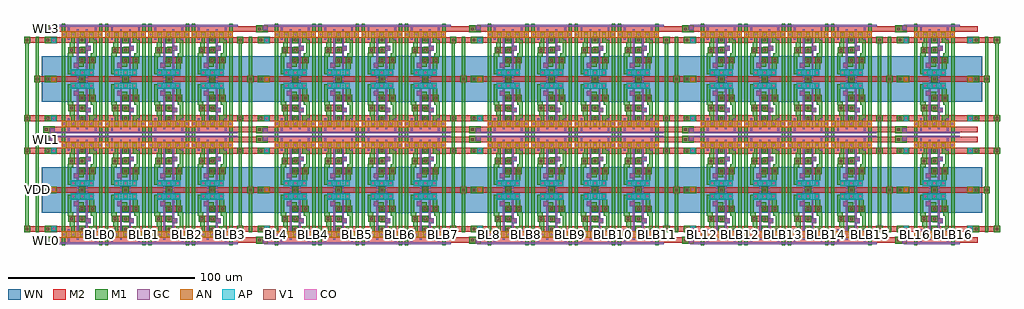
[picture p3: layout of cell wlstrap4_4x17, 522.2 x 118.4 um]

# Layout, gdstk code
import gdstk
lib = gdstk.Library(unit=1e-6, precision=1e-07)
def R(c, l, rs):  # rectangles x0, y0, x1, y1
    for r in rs: c.add(gdstk.rectangle(r[:2], r[2:], *l))
def A(c, l, x, y, w, h, nx, ny, dx, dy):  # array of equal rectangles
    R(c, l, [(x+i*dx, y+j*dy, x+i*dx+w, y+j*dy+h) for i in range(nx) for j in range(ny)])
def P(c, l, *ps):  # polygons
    for p in ps: c.add(gdstk.Polygon(p, *l))
AP = (3, 1)
AN = (3, 2)
GC = (8, 1)
CO = (11, 0)
M1 = (13, 0)
V1 = (19, 0)
M2 = (20, 0)
WN = (140, 0)

euler = lib.new_cell('euler')
R(euler, AP, [(3.5,18.7,15.7,22.1)])
R(euler, AN, [(-1.3,-1.7,20.5,1.7)])
R(euler, GC, [(0,-5.1,23.2,-4.1), (1.9,-5.1,2.9,2.9), (16.3,-5.1,17.3,2.9), (6.7,-2.9,7.7,23.3), (11.5,-2.9,12.5,23.3), (11.5,6.1,14.1,8.7), (11.5,6.9,13.3,7.9), (5.1,15.1,7.7,17.7), (5.9,15.9,7.7,16.9)])
A(euler, CO, -0.5, -0.5, 1, 1, 5, 1, 4.8, 0)
A(euler, CO, 4.3, 19.9, 1, 1, 3, 1, 4.8, 0)
R(euler, CO, [(12.3,6.9,13.3,7.9), (5.9,15.9,6.9,16.9)])
P(euler, M1, [(8.3,-1.3),(8.3,1.3),(7.9,1.3),(7.9,4.7),(11.3,4.7),(11.3,1.3),(10.9,1.3),(10.9,-1.3)],
  [(11.5,6.1),(11.5,6.5),(8.7,6.5),(8.7,6.7),(7.9,6.7),(7.9,10.1),(11.3,10.1),(11.3,8.7),(14.1,8.7),(14.1,6.1)],
  [(7.9,12.1),(7.9,15.1),(5.1,15.1),(5.1,17.7),(7.7,17.7),(7.7,17.3),(10.5,17.3),(10.5,15.5),(11.3,15.5),(11.3,12.1)],
  [(3.5,-1.3),(3.5,1.3),(3.9,1.3),(3.9,4.1),(3.1,4.1),(3.1,6.7),(2.3,6.7),(2.3,10.1),(1.9,10.1),(1.9,21.3),(3.5,21.3),(3.5,21.7),(6.1,21.7),(6.1,19.1),(3.7,19.1),(3.7,11.9),(4.9,11.9),(4.9,10.1),(5.7,10.1),(5.7,1.3),(6.1,1.3),(6.1,-1.3)],
  [(13.1,-1.3),(13.1,1.3),(13.5,1.3),(13.5,4.5),(15.5,4.5),(15.5,10.1),(14.3,10.1),(14.3,12.1),(13.5,12.1),(13.5,19.1),(13.1,19.1),(13.1,21.7),(15.7,21.7),(15.7,18.7),(16.1,18.7),(16.1,15.5),(16.9,15.5),(16.9,11.9),(17.3,11.9),(17.3,2.7),(15.7,2.7),(15.7,-1.3)],
  [(-1.3,-5.7),(-1.3,23.9),(0.5,23.9),(0.5,1.3),(1.3,1.3),(1.3,-1.3),(0.5,-1.3),(0.5,-5.7)],
  [(18.7,-5.7),(18.7,-1.3),(17.9,-1.3),(17.9,1.3),(18.7,1.3),(18.7,23.9),(20.5,23.9),(20.5,-5.7)],
  [(8.3,19.1),(8.3,22.2),(7.9,22.2),(7.9,25.6),(11.3,25.6),(11.3,22.2),(10.9,22.2),(10.9,19.1)])
A(euler, V1, 8.9, 2.3, 1.4, 1.4, 1, 3, 0, 5.4)
R(euler, V1, [(3.3,7.7,4.7,9.1), (14.5,13.1,15.9,14.5), (8.9,23.2,10.3,24.6)])
A(euler, M2, 7.9, 1.3, 3.4, 3.4, 1, 3, 0, 5.4)
R(euler, M2, [(0,-4.5,23.2,-1.5), (0,1.5,23.2,4.5), (2.3,6.7,5.7,10.1), (2.3,6.7,11.3,10.1), (7.9,12.1,16.9,15.5), (13.5,12.1,16.9,15.5), (7.9,22.2,11.3,25.6), (0,22.4,23.2,25.4)])
R(euler, WN, [(-3.5,11.7,26.7,29.1)])

wlstrap4_4x17 = lib.new_cell('wlstrap4_4x17')
A(wlstrap4_4x17, AP, -6.9, 7.4, 2.6, 2.6, 5, 2, 114, 41.8)
A(wlstrap4_4x17, AP, -6.9, 66.6, 2.6, 2.6, 5, 2, 114, 41.8)
R(wlstrap4_4x17, AP, [(483.5,7.4,486.1,10), (483.5,49.2,486.1,51.8), (483.5,66.6,486.1,69.2), (483.5,108.4,486.1,111)])
A(wlstrap4_4x17, AN, -6.9, 28.3, 2.6, 2.6, 5, 2, 114, 59.2)
R(wlstrap4_4x17, AN, [(483.5,28.3,486.1,30.9), (483.5,87.5,486.1,90.1)])
A(wlstrap4_4x17, GC, -6.9, 0.6, 1, 1.9, 5, 2, 114, 56.1)
A(wlstrap4_4x17, GC, -6.4, 0.6, 6.4, 1, 5, 2, 114, 57)
A(wlstrap4_4x17, GC, -7.7, 0.7, 2.6, 2.6, 5, 2, 114, 55.2)
A(wlstrap4_4x17, GC, -6.9, 59.8, 1, 1.9, 5, 2, 114, 56.1)
A(wlstrap4_4x17, GC, -6.4, 59.8, 6.4, 1, 5, 2, 114, 57)
A(wlstrap4_4x17, GC, -7.7, 59.9, 2.6, 2.6, 5, 2, 114, 55.2)
A(wlstrap4_4x17, CO, -6.9, 1.5, 1, 1, 5, 2, 114, 55.2)
A(wlstrap4_4x17, CO, -6.1, 8.2, 1, 1, 5, 3, 114, 20.9)
A(wlstrap4_4x17, CO, 484.3, 8.2, 1, 1, 1, 3, 0, 20.9)
A(wlstrap4_4x17, CO, -6.9, 60.7, 1, 1, 5, 2, 114, 55.2)
A(wlstrap4_4x17, CO, -6.1, 67.4, 1, 1, 5, 3, 114, 20.9)
A(wlstrap4_4x17, CO, 484.3, 67.4, 1, 1, 1, 3, 0, 20.9)
A(wlstrap4_4x17, M1, -11.3, 0.7, 6.2, 3.7, 5, 2, 114, 54.1)
A(wlstrap4_4x17, M1, -7.7, 0.7, 2.6, 2.6, 5, 2, 114, 55.2)
A(wlstrap4_4x17, M1, -11.3, 1, 3.4, 3.4, 5, 2, 114, 53.8)
A(wlstrap4_4x17, M1, -10.5, 7, 3.4, 3.4, 1, 3, 0, 20.9)
A(wlstrap4_4x17, M1, -10.5, 7, 6.6, 3.4, 5, 3, 114, 20.9)
A(wlstrap4_4x17, M1, 103.5, 7, 3.4, 3.4, 1, 3, 0, 20.9)
A(wlstrap4_4x17, M1, 217.5, 7, 3.4, 3.4, 1, 3, 0, 20.9)
A(wlstrap4_4x17, M1, 331.5, 7, 3.4, 3.4, 1, 3, 0, 20.9)
A(wlstrap4_4x17, M1, 445.5, 7, 3.4, 3.4, 1, 3, 0, 20.9)
A(wlstrap4_4x17, M1, 483.1, 7, 6.6, 3.4, 1, 3, 0, 20.9)
A(wlstrap4_4x17, M1, 486.3, 7, 3.4, 3.4, 1, 3, 0, 20.9)
A(wlstrap4_4x17, M1, -6.9, 7.4, 2.6, 2.6, 5, 3, 114, 20.9)
A(wlstrap4_4x17, M1, 483.5, 7.4, 2.6, 2.6, 1, 3, 0, 20.9)
A(wlstrap4_4x17, M1, -11.3, 59.9, 6.2, 3.7, 5, 2, 114, 54.1)
A(wlstrap4_4x17, M1, -7.7, 59.9, 2.6, 2.6, 5, 2, 114, 55.2)
A(wlstrap4_4x17, M1, -11.3, 60.2, 3.4, 3.4, 5, 2, 114, 53.8)
A(wlstrap4_4x17, M1, -10.5, 66.2, 3.4, 3.4, 1, 3, 0, 20.9)
A(wlstrap4_4x17, M1, -10.5, 66.2, 6.6, 3.4, 5, 3, 114, 20.9)
A(wlstrap4_4x17, M1, 103.5, 66.2, 3.4, 3.4, 1, 3, 0, 20.9)
A(wlstrap4_4x17, M1, 217.5, 66.2, 3.4, 3.4, 1, 3, 0, 20.9)
A(wlstrap4_4x17, M1, 331.5, 66.2, 3.4, 3.4, 1, 3, 0, 20.9)
A(wlstrap4_4x17, M1, 445.5, 66.2, 3.4, 3.4, 1, 3, 0, 20.9)
A(wlstrap4_4x17, M1, 483.1, 66.2, 6.6, 3.4, 1, 3, 0, 20.9)
A(wlstrap4_4x17, M1, 486.3, 66.2, 3.4, 3.4, 1, 3, 0, 20.9)
A(wlstrap4_4x17, M1, -6.9, 66.6, 2.6, 2.6, 5, 3, 114, 20.9)
A(wlstrap4_4x17, M1, 483.5, 66.6, 2.6, 2.6, 1, 3, 0, 20.9)
R(wlstrap4_4x17, M1, [(-21.5,7,-18.1,10.4), (-20.7,7,-18.9,111.4), (-15.3,7,-13.5,111.4), (92.5,7,95.9,10.4), (93.3,7,95.1,111.4), (98.7,7,100.5,111.4), (206.5,7,209.9,10.4), (207.3,7,209.1,111.4), (212.7,7,214.5,111.4), (320.5,7,323.9,10.4), (321.3,7,323.1,111.4), (326.7,7,328.5,111.4), (434.5,7,437.9,10.4), (435.3,7,437.1,111.4), (440.7,7,442.5,111.4), (492.7,7,494.5,111.4), (497.3,7,500.7,10.4), (498.1,7,499.9,111.4), (-16.1,27.9,-12.7,31.3), (97.9,27.9,101.3,31.3), (211.9,27.9,215.3,31.3), (325.9,27.9,329.3,31.3), (439.9,27.9,443.3,31.3), (491.9,27.9,495.3,31.3), (-21.5,48.8,-18.1,52.2), (92.5,48.8,95.9,52.2), (206.5,48.8,209.9,52.2), (320.5,48.8,323.9,52.2), (434.5,48.8,437.9,52.2), (497.3,48.8,500.7,52.2), (-21.5,66.2,-18.1,69.6), (92.5,66.2,95.9,69.6), (206.5,66.2,209.9,69.6), (320.5,66.2,323.9,69.6), (434.5,66.2,437.9,69.6), (497.3,66.2,500.7,69.6), (-16.1,87.1,-12.7,90.5), (97.9,87.1,101.3,90.5), (211.9,87.1,215.3,90.5), (325.9,87.1,329.3,90.5), (439.9,87.1,443.3,90.5), (491.9,87.1,495.3,90.5), (-21.5,108,-18.1,111.4), (92.5,108,95.9,111.4), (206.5,108,209.9,111.4), (320.5,108,323.9,111.4), (434.5,108,437.9,111.4), (497.3,108,500.7,111.4)])
A(wlstrap4_4x17, V1, -10.3, 2, 1.4, 1.4, 5, 2, 114, 53.8)
A(wlstrap4_4x17, V1, -9.5, 8, 1.4, 1.4, 1, 3, 0, 20.9)
A(wlstrap4_4x17, V1, 104.5, 8, 1.4, 1.4, 1, 3, 0, 20.9)
A(wlstrap4_4x17, V1, 218.5, 8, 1.4, 1.4, 1, 3, 0, 20.9)
A(wlstrap4_4x17, V1, 332.5, 8, 1.4, 1.4, 1, 3, 0, 20.9)
A(wlstrap4_4x17, V1, 446.5, 8, 1.4, 1.4, 1, 3, 0, 20.9)
A(wlstrap4_4x17, V1, 487.3, 8, 1.4, 1.4, 1, 3, 0, 20.9)
A(wlstrap4_4x17, V1, -10.3, 61.2, 1.4, 1.4, 5, 2, 114, 53.8)
A(wlstrap4_4x17, V1, -9.5, 67.2, 1.4, 1.4, 1, 3, 0, 20.9)
A(wlstrap4_4x17, V1, 104.5, 67.2, 1.4, 1.4, 1, 3, 0, 20.9)
A(wlstrap4_4x17, V1, 218.5, 67.2, 1.4, 1.4, 1, 3, 0, 20.9)
A(wlstrap4_4x17, V1, 332.5, 67.2, 1.4, 1.4, 1, 3, 0, 20.9)
A(wlstrap4_4x17, V1, 446.5, 67.2, 1.4, 1.4, 1, 3, 0, 20.9)
A(wlstrap4_4x17, V1, 487.3, 67.2, 1.4, 1.4, 1, 3, 0, 20.9)
R(wlstrap4_4x17, V1, [(-20.5,8,-19.1,9.4), (93.5,8,94.9,9.4), (207.5,8,208.9,9.4), (321.5,8,322.9,9.4), (435.5,8,436.9,9.4), (498.3,8,499.7,9.4), (-15.1,28.9,-13.7,30.3), (98.9,28.9,100.3,30.3), (212.9,28.9,214.3,30.3), (326.9,28.9,328.3,30.3), (440.9,28.9,442.3,30.3), (492.9,28.9,494.3,30.3), (-20.5,49.8,-19.1,51.2), (93.5,49.8,94.9,51.2), (207.5,49.8,208.9,51.2), (321.5,49.8,322.9,51.2), (435.5,49.8,436.9,51.2), (498.3,49.8,499.7,51.2), (-20.5,67.2,-19.1,68.6), (93.5,67.2,94.9,68.6), (207.5,67.2,208.9,68.6), (321.5,67.2,322.9,68.6), (435.5,67.2,436.9,68.6), (498.3,67.2,499.7,68.6), (-15.1,88.1,-13.7,89.5), (98.9,88.1,100.3,89.5), (212.9,88.1,214.3,89.5), (326.9,88.1,328.3,89.5), (440.9,88.1,442.3,89.5), (492.9,88.1,494.3,89.5), (-20.5,109,-19.1,110.4), (93.5,109,94.9,110.4), (207.5,109,208.9,110.4), (321.5,109,322.9,110.4), (435.5,109,436.9,110.4), (498.3,109,499.7,110.4)])
A(wlstrap4_4x17, M2, -11.3, 1, 3.4, 3.4, 5, 2, 114, 53.8)
A(wlstrap4_4x17, M2, -10.5, 7, 3.4, 3.4, 1, 3, 0, 20.9)
A(wlstrap4_4x17, M2, 103.5, 7, 3.4, 3.4, 1, 3, 0, 20.9)
A(wlstrap4_4x17, M2, 217.5, 7, 3.4, 3.4, 1, 3, 0, 20.9)
A(wlstrap4_4x17, M2, 331.5, 7, 3.4, 3.4, 1, 3, 0, 20.9)
A(wlstrap4_4x17, M2, 445.5, 7, 3.4, 3.4, 1, 3, 0, 20.9)
A(wlstrap4_4x17, M2, 486.3, 7, 3.4, 3.4, 1, 3, 0, 20.9)
A(wlstrap4_4x17, M2, -11.3, 60.2, 3.4, 3.4, 5, 2, 114, 53.8)
A(wlstrap4_4x17, M2, -10.5, 66.2, 3.4, 3.4, 1, 3, 0, 20.9)
A(wlstrap4_4x17, M2, 103.5, 66.2, 3.4, 3.4, 1, 3, 0, 20.9)
A(wlstrap4_4x17, M2, 217.5, 66.2, 3.4, 3.4, 1, 3, 0, 20.9)
A(wlstrap4_4x17, M2, 331.5, 66.2, 3.4, 3.4, 1, 3, 0, 20.9)
A(wlstrap4_4x17, M2, 445.5, 66.2, 3.4, 3.4, 1, 3, 0, 20.9)
A(wlstrap4_4x17, M2, 486.3, 66.2, 3.4, 3.4, 1, 3, 0, 20.9)
R(wlstrap4_4x17, M2, [(-9.6,1.2,488.8,4.2), (-21.5,7,-18.1,10.4), (92.5,7,95.9,10.4), (206.5,7,209.9,10.4), (320.5,7,323.9,10.4), (434.5,7,437.9,10.4), (497.3,7,500.7,10.4), (-21.5,7.2,480.9,10.2), (-1.7,7.2,500.7,10.2), (-1.7,7.2,480.9,10.2), (-1.7,7.2,480.9,10.2), (-1.7,7.2,480.9,10.2), (-1.7,7.2,480.9,10.2), (-16.1,27.9,-12.7,31.3), (97.9,27.9,101.3,31.3), (211.9,27.9,215.3,31.3), (325.9,27.9,329.3,31.3), (439.9,27.9,443.3,31.3), (491.9,27.9,495.3,31.3), (-16.1,28.1,480.9,31.1), (-1.7,28.1,495.3,31.1), (-1.7,28.1,480.9,31.1), (-1.7,28.1,480.9,31.1), (-1.7,28.1,480.9,31.1), (-1.7,28.1,480.9,31.1), (-21.5,48.8,-18.1,52.2), (92.5,48.8,95.9,52.2), (206.5,48.8,209.9,52.2), (320.5,48.8,323.9,52.2), (434.5,48.8,437.9,52.2), (497.3,48.8,500.7,52.2), (-21.5,49,480.9,52), (-1.7,49,500.7,52), (-1.7,49,480.9,52), (-1.7,49,480.9,52), (-1.7,49,480.9,52), (-1.7,49,480.9,52), (-9.6,55,488.8,58), (-9.6,60.4,488.8,63.4), (-21.5,66.2,-18.1,69.6), (92.5,66.2,95.9,69.6), (206.5,66.2,209.9,69.6), (320.5,66.2,323.9,69.6), (434.5,66.2,437.9,69.6), (497.3,66.2,500.7,69.6), (-21.5,66.4,480.9,69.4), (-1.7,66.4,500.7,69.4), (-1.7,66.4,480.9,69.4), (-1.7,66.4,480.9,69.4), (-1.7,66.4,480.9,69.4), (-1.7,66.4,480.9,69.4), (-16.1,87.1,-12.7,90.5), (97.9,87.1,101.3,90.5), (211.9,87.1,215.3,90.5), (325.9,87.1,329.3,90.5), (439.9,87.1,443.3,90.5), (491.9,87.1,495.3,90.5), (-16.1,87.3,480.9,90.3), (-1.7,87.3,495.3,90.3), (-1.7,87.3,480.9,90.3), (-1.7,87.3,480.9,90.3), (-1.7,87.3,480.9,90.3), (-1.7,87.3,480.9,90.3), (-21.5,108,-18.1,111.4), (92.5,108,95.9,111.4), (206.5,108,209.9,111.4), (320.5,108,323.9,111.4), (434.5,108,437.9,111.4), (497.3,108,500.7,111.4), (-21.5,108.2,480.9,111.2), (-1.7,108.2,500.7,111.2), (-1.7,108.2,480.9,111.2), (-1.7,108.2,480.9,111.2), (-1.7,108.2,480.9,111.2), (-1.7,108.2,480.9,111.2), (-9.6,114.2,488.8,117.2)])
R(wlstrap4_4x17, WN, [(-12,17.4,491.2,41.8), (0,17.4,491.2,41.8), (102,17.4,491.2,41.8), (216,17.4,491.2,41.8), (330,17.4,491.2,41.8), (444,17.4,491.2,41.8), (-12,76.6,491.2,101), (0,76.6,491.2,101), (102,76.6,491.2,101), (216,76.6,491.2,101), (330,76.6,491.2,101), (444,76.6,491.2,101)])
wlstrap4_4x17.add(gdstk.Reference(euler, (0,5.7)))
wlstrap4_4x17.add(gdstk.Reference(euler, (23.2,5.7)))
wlstrap4_4x17.add(gdstk.Reference(euler, (46.4,5.7)))
wlstrap4_4x17.add(gdstk.Reference(euler, (69.6,5.7)))
wlstrap4_4x17.add(gdstk.Reference(euler, (114,5.7)))
wlstrap4_4x17.add(gdstk.Reference(euler, (137.2,5.7)))
wlstrap4_4x17.add(gdstk.Reference(euler, (160.4,5.7)))
wlstrap4_4x17.add(gdstk.Reference(euler, (183.6,5.7)))
wlstrap4_4x17.add(gdstk.Reference(euler, (228,5.7)))
wlstrap4_4x17.add(gdstk.Reference(euler, (251.2,5.7)))
wlstrap4_4x17.add(gdstk.Reference(euler, (274.4,5.7)))
wlstrap4_4x17.add(gdstk.Reference(euler, (297.6,5.7)))
wlstrap4_4x17.add(gdstk.Reference(euler, (342,5.7)))
wlstrap4_4x17.add(gdstk.Reference(euler, (365.2,5.7)))
wlstrap4_4x17.add(gdstk.Reference(euler, (388.4,5.7)))
wlstrap4_4x17.add(gdstk.Reference(euler, (411.6,5.7)))
wlstrap4_4x17.add(gdstk.Reference(euler, (456,5.7)))
wlstrap4_4x17.add(gdstk.Reference(euler, (0,53.5), x_reflection=True))
wlstrap4_4x17.add(gdstk.Reference(euler, (23.2,53.5), x_reflection=True))
wlstrap4_4x17.add(gdstk.Reference(euler, (46.4,53.5), x_reflection=True))
wlstrap4_4x17.add(gdstk.Reference(euler, (69.6,53.5), x_reflection=True))
wlstrap4_4x17.add(gdstk.Reference(euler, (114,53.5), x_reflection=True))
wlstrap4_4x17.add(gdstk.Reference(euler, (137.2,53.5), x_reflection=True))
wlstrap4_4x17.add(gdstk.Reference(euler, (160.4,53.5), x_reflection=True))
wlstrap4_4x17.add(gdstk.Reference(euler, (183.6,53.5), x_reflection=True))
wlstrap4_4x17.add(gdstk.Reference(euler, (228,53.5), x_reflection=True))
wlstrap4_4x17.add(gdstk.Reference(euler, (251.2,53.5), x_reflection=True))
wlstrap4_4x17.add(gdstk.Reference(euler, (274.4,53.5), x_reflection=True))
wlstrap4_4x17.add(gdstk.Reference(euler, (297.6,53.5), x_reflection=True))
wlstrap4_4x17.add(gdstk.Reference(euler, (342,53.5), x_reflection=True))
wlstrap4_4x17.add(gdstk.Reference(euler, (365.2,53.5), x_reflection=True))
wlstrap4_4x17.add(gdstk.Reference(euler, (388.4,53.5), x_reflection=True))
wlstrap4_4x17.add(gdstk.Reference(euler, (411.6,53.5), x_reflection=True))
wlstrap4_4x17.add(gdstk.Reference(euler, (456,53.5), x_reflection=True))
wlstrap4_4x17.add(gdstk.Reference(euler, (0,64.9)))
wlstrap4_4x17.add(gdstk.Reference(euler, (23.2,64.9)))
wlstrap4_4x17.add(gdstk.Reference(euler, (46.4,64.9)))
wlstrap4_4x17.add(gdstk.Reference(euler, (69.6,64.9)))
wlstrap4_4x17.add(gdstk.Reference(euler, (114,64.9)))
wlstrap4_4x17.add(gdstk.Reference(euler, (137.2,64.9)))
wlstrap4_4x17.add(gdstk.Reference(euler, (160.4,64.9)))
wlstrap4_4x17.add(gdstk.Reference(euler, (183.6,64.9)))
wlstrap4_4x17.add(gdstk.Reference(euler, (228,64.9)))
wlstrap4_4x17.add(gdstk.Reference(euler, (251.2,64.9)))
wlstrap4_4x17.add(gdstk.Reference(euler, (274.4,64.9)))
wlstrap4_4x17.add(gdstk.Reference(euler, (297.6,64.9)))
wlstrap4_4x17.add(gdstk.Reference(euler, (342,64.9)))
wlstrap4_4x17.add(gdstk.Reference(euler, (365.2,64.9)))
wlstrap4_4x17.add(gdstk.Reference(euler, (388.4,64.9)))
wlstrap4_4x17.add(gdstk.Reference(euler, (411.6,64.9)))
wlstrap4_4x17.add(gdstk.Reference(euler, (456,64.9)))
wlstrap4_4x17.add(gdstk.Reference(euler, (0,112.7), x_reflection=True))
wlstrap4_4x17.add(gdstk.Reference(euler, (23.2,112.7), x_reflection=True))
wlstrap4_4x17.add(gdstk.Reference(euler, (46.4,112.7), x_reflection=True))
wlstrap4_4x17.add(gdstk.Reference(euler, (69.6,112.7), x_reflection=True))
wlstrap4_4x17.add(gdstk.Reference(euler, (114,112.7), x_reflection=True))
wlstrap4_4x17.add(gdstk.Reference(euler, (137.2,112.7), x_reflection=True))
wlstrap4_4x17.add(gdstk.Reference(euler, (160.4,112.7), x_reflection=True))
wlstrap4_4x17.add(gdstk.Reference(euler, (183.6,112.7), x_reflection=True))
wlstrap4_4x17.add(gdstk.Reference(euler, (228,112.7), x_reflection=True))
wlstrap4_4x17.add(gdstk.Reference(euler, (251.2,112.7), x_reflection=True))
wlstrap4_4x17.add(gdstk.Reference(euler, (274.4,112.7), x_reflection=True))
wlstrap4_4x17.add(gdstk.Reference(euler, (297.6,112.7), x_reflection=True))
wlstrap4_4x17.add(gdstk.Reference(euler, (342,112.7), x_reflection=True))
wlstrap4_4x17.add(gdstk.Reference(euler, (365.2,112.7), x_reflection=True))
wlstrap4_4x17.add(gdstk.Reference(euler, (388.4,112.7), x_reflection=True))
wlstrap4_4x17.add(gdstk.Reference(euler, (411.6,112.7), x_reflection=True))
wlstrap4_4x17.add(gdstk.Reference(euler, (456,112.7), x_reflection=True))
wlstrap4_4x17.add(gdstk.Label('WL0', (-9.6,2.7), layer=49, texttype=0))
wlstrap4_4x17.add(gdstk.Label('WL1', (-9.6,56.5), layer=49, texttype=0))
wlstrap4_4x17.add(gdstk.Label('WL2', (-9.6,61.9), layer=49, texttype=0))
wlstrap4_4x17.add(gdstk.Label('WL3', (-9.6,115.7), layer=49, texttype=0))
wlstrap4_4x17.add(gdstk.Label('VDD', (-14.4,29.6), layer=48, texttype=0))
wlstrap4_4x17.add(gdstk.Label('VSS', (-19.8,8.7), layer=48, texttype=0))
wlstrap4_4x17.add(gdstk.Label('BL0', (-0.4,5.7), layer=48, texttype=0))
wlstrap4_4x17.add(gdstk.Label('BLB0', (19.6,5.7), layer=48, texttype=0))
wlstrap4_4x17.add(gdstk.Label('BL1', (22.8,5.7), layer=48, texttype=0))
wlstrap4_4x17.add(gdstk.Label('BLB1', (42.8,5.7), layer=48, texttype=0))
wlstrap4_4x17.add(gdstk.Label('BL2', (46,5.7), layer=48, texttype=0))
wlstrap4_4x17.add(gdstk.Label('BLB2', (66,5.7), layer=48, texttype=0))
wlstrap4_4x17.add(gdstk.Label('BL3', (69.2,5.7), layer=48, texttype=0))
wlstrap4_4x17.add(gdstk.Label('BLB3', (89.2,5.7), layer=48, texttype=0))
wlstrap4_4x17.add(gdstk.Label('BL4', (113.6,5.7), layer=48, texttype=0))
wlstrap4_4x17.add(gdstk.Label('BLB4', (133.6,5.7), layer=48, texttype=0))
wlstrap4_4x17.add(gdstk.Label('BL5', (136.8,5.7), layer=48, texttype=0))
wlstrap4_4x17.add(gdstk.Label('BLB5', (156.8,5.7), layer=48, texttype=0))
wlstrap4_4x17.add(gdstk.Label('BL6', (160,5.7), layer=48, texttype=0))
wlstrap4_4x17.add(gdstk.Label('BLB6', (180,5.7), layer=48, texttype=0))
wlstrap4_4x17.add(gdstk.Label('BL7', (183.2,5.7), layer=48, texttype=0))
wlstrap4_4x17.add(gdstk.Label('BLB7', (203.2,5.7), layer=48, texttype=0))
wlstrap4_4x17.add(gdstk.Label('BL8', (227.6,5.7), layer=48, texttype=0))
wlstrap4_4x17.add(gdstk.Label('BLB8', (247.6,5.7), layer=48, texttype=0))
wlstrap4_4x17.add(gdstk.Label('BL9', (250.8,5.7), layer=48, texttype=0))
wlstrap4_4x17.add(gdstk.Label('BLB9', (270.8,5.7), layer=48, texttype=0))
wlstrap4_4x17.add(gdstk.Label('BL10', (274,5.7), layer=48, texttype=0))
wlstrap4_4x17.add(gdstk.Label('BLB10', (294,5.7), layer=48, texttype=0))
wlstrap4_4x17.add(gdstk.Label('BL11', (297.2,5.7), layer=48, texttype=0))
wlstrap4_4x17.add(gdstk.Label('BLB11', (317.2,5.7), layer=48, texttype=0))
wlstrap4_4x17.add(gdstk.Label('BL12', (341.6,5.7), layer=48, texttype=0))
wlstrap4_4x17.add(gdstk.Label('BLB12', (361.6,5.7), layer=48, texttype=0))
wlstrap4_4x17.add(gdstk.Label('BL13', (364.8,5.7), layer=48, texttype=0))
wlstrap4_4x17.add(gdstk.Label('BLB13', (384.8,5.7), layer=48, texttype=0))
wlstrap4_4x17.add(gdstk.Label('BL14', (388,5.7), layer=48, texttype=0))
wlstrap4_4x17.add(gdstk.Label('BLB14', (408,5.7), layer=48, texttype=0))
wlstrap4_4x17.add(gdstk.Label('BL15', (411.2,5.7), layer=48, texttype=0))
wlstrap4_4x17.add(gdstk.Label('BLB15', (431.2,5.7), layer=48, texttype=0))
wlstrap4_4x17.add(gdstk.Label('BL16', (455.6,5.7), layer=48, texttype=0))
wlstrap4_4x17.add(gdstk.Label('BLB16', (475.6,5.7), layer=48, texttype=0))

lib.write_gds('wlstrap4_4x17.gds')
